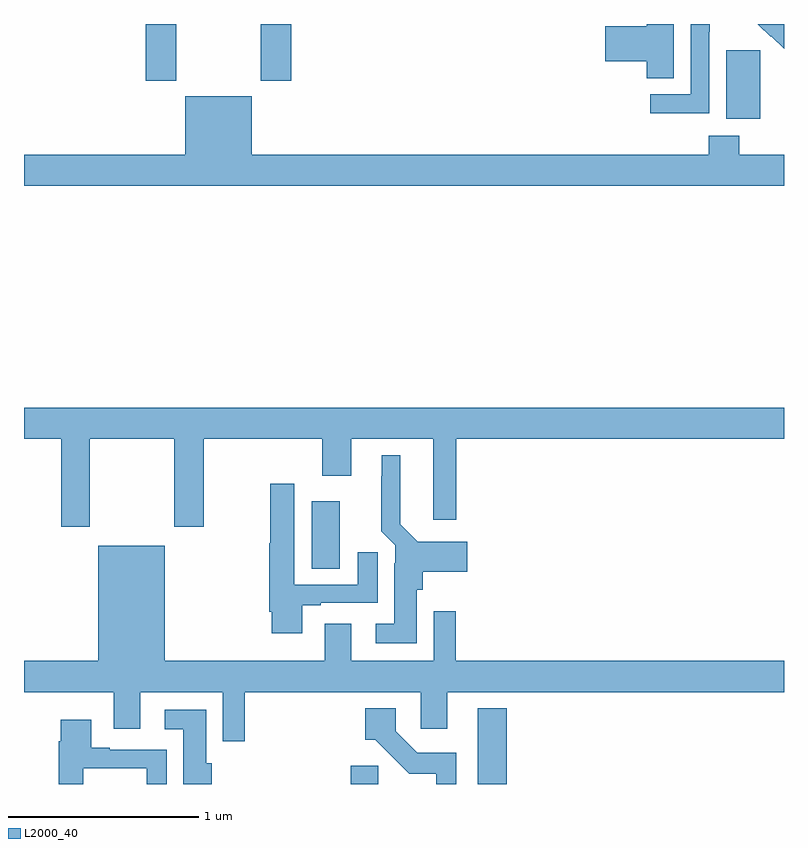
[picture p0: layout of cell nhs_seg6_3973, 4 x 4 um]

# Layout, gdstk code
import gdstk
lib = gdstk.Library(unit=1e-6, precision=1e-09)
def R(c, l, rs):  # rectangles x0, y0, x1, y1
    for r in rs: c.add(gdstk.rectangle(r[:2], r[2:], *l))
def P(c, l, *ps):  # polygons
    for p in ps: c.add(gdstk.Polygon(p, *l))
L2000_40 = (2000, 40)

nhs_seg6_3973 = lib.new_cell('nhs_seg6_3973')
R(nhs_seg6_3973, L2000_40, [(346.721,965.5,346.865,965.595), (347.387,965.5,347.54,965.899), (346.514,966.634,346.663,966.988), (348.695,969.002,348.874,969.363), (345.641,969.201,345.801,969.5), (346.246,969.201,346.406,969.5)])
P(nhs_seg6_3973, L2000_40, [(348.421,969.5),(348.278,969.5),(348.278,969.488),(348.06,969.488),(348.06,969.305),(348.278,969.305),(348.278,969.214),(348.421,969.214)],
  [(349,969.5),(348.862,969.5),(348.93,969.432),(348.933,969.435),(349,969.369)],
  [(348.606,969.46),(348.609,969.46),(348.609,969.5),(348.51,969.5),(348.51,969.129),(348.297,969.129),(348.297,969.031),(348.606,969.031)],
  [(349,968.812),(348.765,968.812),(348.765,968.911),(348.605,968.911),(348.605,968.812),(346.198,968.812),(346.198,969.121),(345.848,969.121),(345.848,968.812),(345,968.812),(345,968.648),(349,968.648)],
  [(345.345,967.316),(345.79,967.316),(345.79,966.855),(345.945,966.855),(345.945,967.316),(346.571,967.316),(346.571,967.122),(346.723,967.122),(346.723,967.316),(347.153,967.316),(347.153,966.891),(347.276,966.891),(347.276,967.316),(349,967.316),(349,967.48),(345,967.48),(345,967.316),(345.197,967.316),(345.197,966.855),(345.345,966.855)],
  [(347.068,966.522),(347.099,966.522),(347.099,966.617),(347.332,966.617),(347.332,966.775),(347.073,966.775),(346.981,966.868),(346.981,967.231),(346.883,967.231),(346.883,967.121),(346.879,967.121),(346.879,966.83),(346.953,966.756),(346.953,966.662),(346.949,966.662),(346.949,966.343),(346.851,966.343),(346.851,966.242),(347.068,966.242)],
  [(346.465,966.441),(346.561,966.441),(346.561,966.453),(346.861,966.453),(346.861,966.721),(346.757,966.721),(346.757,966.549),(346.423,966.549),(346.423,967.081),(346.297,967.081),(346.297,966.768),(346.292,966.768),(346.292,966.406),(346.304,966.406),(346.304,966.294),(346.465,966.294)],
  [(346.163,965.984),(347.088,965.984),(347.088,965.79),(347.227,965.79),(347.227,965.984),(349,965.984),(349,966.148),(347.273,966.148),(347.273,966.409),(347.157,966.409),(347.157,966.148),(346.723,966.148),(346.723,966.343),(346.583,966.343),(346.583,966.148),(345.742,966.148),(345.742,966.754),(345.392,966.754),(345.392,966.148),(345,966.148),(345,965.984),(345.473,965.984),(345.473,965.79),(345.613,965.79),(345.613,965.984),(346.047,965.984),(346.047,965.724),(346.163,965.724)],
  [(347.275,965.664),(347.07,965.664),(346.956,965.778),(346.956,965.899),(346.796,965.899),(346.796,965.732),(346.849,965.732),(347.027,965.555),(347.171,965.555),(347.171,965.5),(347.275,965.5)],
  [(345.989,965.61),(345.958,965.61),(345.958,965.89),(345.741,965.89),(345.741,965.789),(345.839,965.789),(345.839,965.5),(345.989,965.5)],
  [(345.313,965.583),(345.647,965.583),(345.647,965.5),(345.751,965.5),(345.751,965.679),(345.451,965.679),(345.451,965.692),(345.355,965.692),(345.355,965.839),(345.194,965.839),(345.194,965.726),(345.182,965.726),(345.182,965.5),(345.313,965.5)])

lib.write_gds('nhs_seg6_3973.gds')
